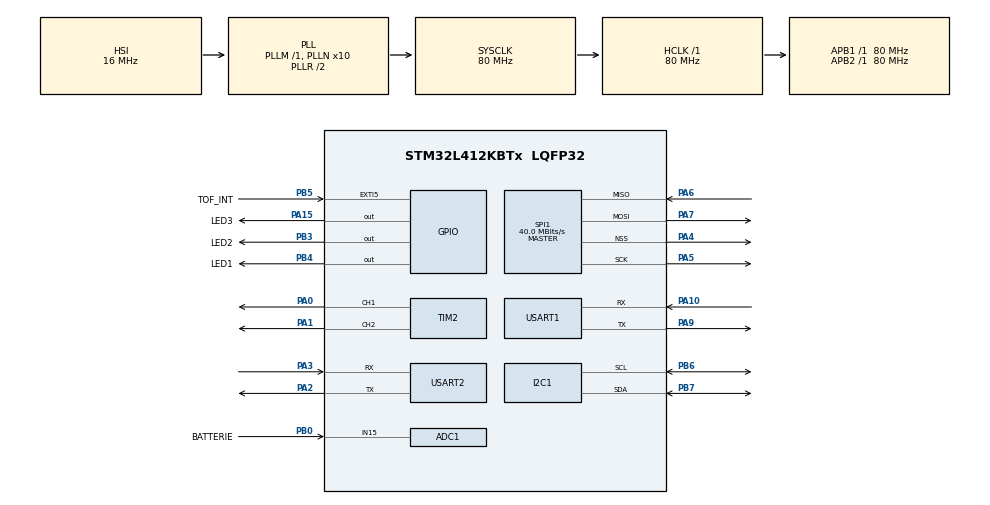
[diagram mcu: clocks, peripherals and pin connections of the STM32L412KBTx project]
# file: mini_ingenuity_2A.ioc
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ADC1.Channel-1\#ChannelRegularConversion=ADC_CHANNEL_15
ADC1.NbrOfConversionFlag=1
ADC1.OffsetNumber-1\#ChannelRegularConversion=ADC_OFFSET_NONE
ADC1.Rank-1\#ChannelRegularConversion=1
ADC1.SamplingTime-1\#ChannelRegularConversion=ADC_SAMPLETIME_2CYCLES_5
ADC1.master=1
I2C1.Timing=0x10909CEC
Mcu.Family=STM32L4
Mcu.Name=STM32L412KBTx
Mcu.Package=LQFP32
NVIC.EXTI9_5_IRQn=true\:0\:0\:false\:false\:true\:true\:true\:true
NVIC.PriorityGroup=NVIC_PRIORITYGROUP_4
PA0-CK_IN.Signal=S_TIM2_CH1
PA1.Signal=S_TIM2_CH2
PA10.Mode=Asynchronous
PA10.Signal=USART1_RX
PA13\ (JTMS/SWDIO).Mode=Serial_Wire
PA13\ (JTMS/SWDIO).Signal=SYS_JTMS-SWDIO
PA14\ (JTCK/SWCLK).Mode=Serial_Wire
PA14\ (JTCK/SWCLK).Signal=SYS_JTCK-SWCLK
PA15\ (JTDI).GPIO_Label=LED3
PA15\ (JTDI).Signal=GPIO_Output
PA2.Mode=Asynchronous
PA2.Signal=USART2_TX
PA3.Mode=Asynchronous
PA3.Signal=USART2_RX
PA4.Mode=NSS_Signal_Hard_Output
PA4.Signal=SPI1_NSS
PA5.Mode=Full_Duplex_Master
PA5.Signal=SPI1_SCK
PA6.Mode=Full_Duplex_Master
PA6.Signal=SPI1_MISO
PA7.Mode=Full_Duplex_Master
PA7.Signal=SPI1_MOSI
PA9.Mode=Asynchronous
PA9.Signal=USART1_TX
PB0.GPIO_Label=BATTERIE
PB0.Signal=ADCx_IN15
PB3\ (JTDO/TRACESWO).GPIO_Label=LED2
PB3\ (JTDO/TRACESWO).Signal=GPIO_Output
PB4\ (NJTRST).GPIO_Label=LED1
PB4\ (NJTRST).Signal=GPIO_Output
PB5.GPIO_Label=TOF_INT
PB5.Signal=GPXTI5
PB6.Mode=I2C
PB6.Signal=I2C1_SCL
PB7.Mode=I2C
PB7.Signal=I2C1_SDA
ProjectManager.HeapSize=0x200
ProjectManager.StackSize=0x400
ProjectManager.TargetToolchain=STM32CubeIDE
RCC.ADCFreq_Value=80000000
RCC.AHBFreq_Value=80000000
RCC.APB1Freq_Value=80000000
RCC.APB1TimFreq_Value=80000000
RCC.APB2Freq_Value=80000000
RCC.APB2TimFreq_Value=80000000
RCC.CortexFreq_Value=80000000
RCC.HCLKFreq_Value=80000000
RCC.HSE_VALUE=8000000
RCC.HSI48_VALUE=48000000
RCC.HSI_VALUE=16000000
RCC.I2C1CLockSelection=RCC_I2C1CLKSOURCE_SYSCLK
RCC.LSE_VALUE=32768
RCC.MSI_VALUE=4000000
RCC.PLLN=10
RCC.PLLSourceVirtual=RCC_PLLSOURCE_HSI
RCC.SYSCLKFreq_VALUE=80000000
RCC.SYSCLKSource=RCC_SYSCLKSOURCE_PLLCLK
RCC.USBFreq_Value=4000000
RCC.VCOOutputFreq_Value=160000000
SH.ADCx_IN15.0=ADC1_IN15,IN15-Single-Ended
SH.S_TIM2_CH1.0=TIM2_CH1,PWM Generation1 CH1
SH.S_TIM2_CH2.0=TIM2_CH2,PWM Generation2 CH2
SPI1.BaudRatePrescaler=SPI_BAUDRATEPRESCALER_2
SPI1.CalculateBaudRate=40.0 MBits/s
SPI1.Direction=SPI_DIRECTION_2LINES
SPI1.Mode=SPI_MODE_MASTER
SPI1.VirtualNSS=VM_NSSHARD
SPI1.VirtualType=VM_MASTER
TIM2.Channel-PWM\ Generation1\ CH1=TIM_CHANNEL_1
TIM2.Channel-PWM\ Generation2\ CH2=TIM_CHANNEL_2
USART1.VirtualMode-Asynchronous=VM_ASYNC
USART2.VirtualMode-Asynchronous=VM_ASYNC
VP_TIM2_VS_ClockSourceINT.Mode=Internal
board=custom

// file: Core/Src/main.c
/* USER CODE BEGIN Header */
/**
 ******************************************************************************
 * @file           : main.c
 * @brief          : Main program body
 ******************************************************************************
 * @attention
 *
 * Copyright (c) 2025 STMicroelectronics.
 * All rights reserved.
 *
 * This software is licensed under terms that can be found in the LICENSE file
 * in the root directory of this software component.
 * If no LICENSE file comes with this software, it is provided AS-IS.
 *
 ******************************************************************************
 */
/* USER CODE END Header */
#include "main.h"
#include "adc.h"
#include "i2c.h"
#include "spi.h"
#include "tim.h"
#include "usart.h"
#include "gpio.h"

/* USER CODE BEGIN Includes */
#include <stdio.h>

#include "VL53L1X_api.h"
#include "vl53l1_error_codes.h"

/* USER CODE END Includes */

/* USER CODE BEGIN PD */
#define VL53L1X_DEFAULT_ADDRESS (0x29 << 1)

/* USER CODE END PD */

void SystemClock_Config(void);

/* USER CODE BEGIN 0 */

int __io_putchar(int chr)
{
	HAL_UART_Transmit(&huart1, (uint8_t*) &chr, 1, HAL_MAX_DELAY);
	return chr;
}

uint32_t measure_counter = 0;
uint8_t data_available = 0;

void HAL_GPIO_EXTI_Callback(uint16_t GPIO_Pin)
{
	if (TOF_INT_Pin == GPIO_Pin)
	{
		measure_counter++;
		data_available++;
	}
}

/* USER CODE END 0 */

int main(void)
{

	/* MCU Configuration--------------------------------------------------------*/

	/* Reset of all peripherals, Initializes the Flash interface and the Systick. */
	HAL_Init();

	/* Configure the system clock */
	SystemClock_Config();

	/* Configure the peripherals common clocks */

	/* Initialize all configured peripherals */
	MX_GPIO_Init();
	MX_ADC1_Init();
	MX_I2C1_Init();
	MX_SPI1_Init();
	MX_TIM2_Init();
	MX_USART1_UART_Init();
	MX_USART2_UART_Init();
	/* USER CODE BEGIN 2 */

	printf("\r\n===== VL53L1X-SATEL =====\r\n");

	uint16_t id;
	if (VL53L1X_GetSensorId(VL53L1X_DEFAULT_ADDRESS, &id) != VL53L1_ERROR_NONE)
	{
		Error_Handler();
	}
	printf("SensorID : 0x%X\r\n", id);

	VL53L1X_Version_t version;
	if (VL53L1X_GetSWVersion(&version) != VL53L1_ERROR_NONE)
	{
		Error_Handler();
	}
	printf("Version : %u.%ub%ur%lu\r\n", version.major, version.minor, version.build, version.revision);

	uint8_t boot_state = 0;
	uint8_t boot_state_counter = 0;

	while(boot_state == 0)
	{
		boot_state_counter++;
		if (VL53L1X_BootState(VL53L1X_DEFAULT_ADDRESS, &boot_state) != VL53L1_ERROR_NONE)
		{
			Error_Handler();
		}
		HAL_Delay(1);
	}

	printf("Chip booted in %d...\r\n", boot_state_counter);

	//Loads the 135 bytes default values to initialize the sensor.
	if (VL53L1X_SensorInit(VL53L1X_DEFAULT_ADDRESS) != VL53L1_ERROR_NONE)
	{
		Error_Handler();
	}
	printf("Sensor initialized with the default values\r\n");

	if (VL53L1X_SetDistanceMode(VL53L1X_DEFAULT_ADDRESS, 1) != VL53L1_ERROR_NONE) // 1=short, limited to 1.3m
	{
		Error_Handler();
	}
	printf("Short distance mode\r\n");

	if (VL53L1X_SetTimingBudgetInMs(VL53L1X_DEFAULT_ADDRESS, 50) != VL53L1_ERROR_NONE) // in ms possible values [20, 50, 100, 200, 500]
	{
		Error_Handler();
	}

	if (VL53L1X_SetInterMeasurementInMs(VL53L1X_DEFAULT_ADDRESS, 50) != VL53L1_ERROR_NONE) // in ms, IM must be >= TB
	{
		Error_Handler();
	}

	printf("Timing budget set\r\n");

	if (VL53L1X_StartRanging(VL53L1X_DEFAULT_ADDRESS) != VL53L1_ERROR_NONE)
	{
		Error_Handler();
	}

	/* USER CODE END 2 */

	/* Infinite loop */
	/* USER CODE BEGIN WHILE */
	while (1)
	{
		if (data_available > 0)
		{
			data_available = 0;
			uint16_t distance;
			if (VL53L1X_ClearInterrupt(VL53L1X_DEFAULT_ADDRESS) != VL53L1_ERROR_NONE)
			{
				Error_Handler();
			}
			if (VL53L1X_GetDistance(VL53L1X_DEFAULT_ADDRESS, &distance) != VL53L1_ERROR_NONE)
			{
				Error_Handler();
			}
			printf("distance(%lu) : %u\r\n", measure_counter, distance);
		}

		/* USER CODE END WHILE */

	}
}

void SystemClock_Config(void)
{
	RCC_OscInitTypeDef RCC_OscInitStruct = {0};
	RCC_ClkInitTypeDef RCC_ClkInitStruct = {0};

	/** Configure the main internal regulator output voltage
	 */
	if (HAL_PWREx_ControlVoltageScaling(PWR_REGULATOR_VOLTAGE_SCALE1) != HAL_OK)
	{
		Error_Handler();
	}

	/** Initializes the RCC Oscillators according to the specified parameters
	 * in the RCC_OscInitTypeDef structure.
	 */
	RCC_OscInitStruct.OscillatorType = RCC_OSCILLATORTYPE_HSI;
	RCC_OscInitStruct.HSIState = RCC_HSI_ON;
	RCC_OscInitStruct.HSICalibrationValue = RCC_HSICALIBRATION_DEFAULT;
	RCC_OscInitStruct.PLL.PLLState = RCC_PLL_ON;
	RCC_OscInitStruct.PLL.PLLSource = RCC_PLLSOURCE_HSI;
	RCC_OscInitStruct.PLL.PLLM = 1;
	RCC_OscInitStruct.PLL.PLLN = 10;
	RCC_OscInitStruct.PLL.PLLQ = RCC_PLLQ_DIV2;
	RCC_OscInitStruct.PLL.PLLR = RCC_PLLR_DIV2;
	if (HAL_RCC_OscConfig(&RCC_OscInitStruct) != HAL_OK)
	{
		Error_Handler();
	}

	/** Initializes the CPU, AHB and APB buses clocks
	 */
	RCC_ClkInitStruct.ClockType = RCC_CLOCKTYPE_HCLK|RCC_CLOCKTYPE_SYSCLK
			|RCC_CLOCKTYPE_PCLK1|RCC_CLOCKTYPE_PCLK2;
	RCC_ClkInitStruct.SYSCLKSource = RCC_SYSCLKSOURCE_PLLCLK;
	RCC_ClkInitStruct.AHBCLKDivider = RCC_SYSCLK_DIV1;
	RCC_ClkInitStruct.APB1CLKDivider = RCC_HCLK_DIV1;
	RCC_ClkInitStruct.APB2CLKDivider = RCC_HCLK_DIV1;

	if (HAL_RCC_ClockConfig(&RCC_ClkInitStruct, FLASH_LATENCY_4) != HAL_OK)
	{
		Error_Handler();
	}
}

void Error_Handler(void)
{
	__disable_irq();
	while (1)
	{
	}
}
